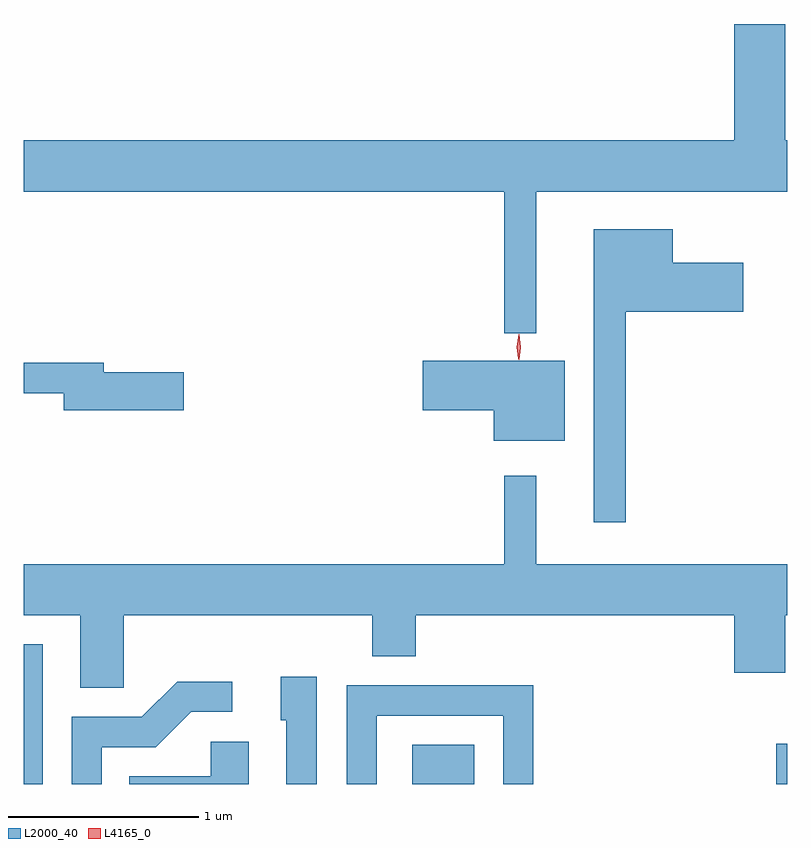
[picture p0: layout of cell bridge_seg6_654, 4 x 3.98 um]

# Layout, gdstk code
import gdstk
lib = gdstk.Library(unit=1e-6, precision=1e-09)
def R(c, l, rs):  # rectangles x0, y0, x1, y1
    for r in rs: c.add(gdstk.rectangle(r[:2], r[2:], *l))
def P(c, l, *ps):  # polygons
    for p in ps: c.add(gdstk.Polygon(p, *l))
L2000_40 = (2000, 40)
L4165_0 = (4165, 0)

bridge_seg6_654 = lib.new_cell('bridge_seg6_654')
R(bridge_seg6_654, L2000_40, [(231.335,1662.373,231.434,1663.104), (233.371,1662.373,233.694,1662.579), (235.276,1662.373,235.335,1662.584)])
P(bridge_seg6_654, L2000_40, [(234.019,1665.476),(235.335,1665.476),(235.335,1665.744),(235.324,1665.744),(235.324,1666.354),(235.056,1666.354),(235.056,1665.744),(231.335,1665.744),(231.335,1665.476),(233.851,1665.476),(233.851,1664.733),(234.019,1664.733)],
  [(234.489,1664.846),(235.104,1664.846),(235.104,1665.104),(234.734,1665.104),(234.734,1665.279),(234.321,1665.279),(234.321,1663.743),(234.489,1663.743)],
  [(234.169,1664.589),(233.426,1664.589),(233.426,1664.331),(233.796,1664.331),(233.796,1664.171),(234.169,1664.171)],
  [(232.174,1664.529),(231.754,1664.529),(231.754,1664.579),(231.335,1664.579),(231.335,1664.421),(231.546,1664.421),(231.546,1664.331),(232.174,1664.331)],
  [(231.859,1663.256),(233.161,1663.256),(233.161,1663.041),(233.389,1663.041),(233.389,1663.256),(235.056,1663.256),(235.056,1662.956),(235.324,1662.956),(235.324,1663.256),(235.335,1663.256),(235.335,1663.524),(234.019,1663.524),(234.019,1663.988),(233.851,1663.988),(233.851,1663.524),(231.335,1663.524),(231.335,1663.256),(231.631,1663.256),(231.631,1662.876),(231.859,1662.876)],
  [(232.869,1662.934),(232.681,1662.934),(232.681,1662.706),(232.711,1662.706),(232.711,1662.373),(232.869,1662.373)],
  [(231.744,1662.566),(232.027,1662.566),(232.212,1662.751),(232.428,1662.751),(232.428,1662.909),(232.139,1662.909),(231.954,1662.724),(231.586,1662.724),(231.586,1662.373),(231.744,1662.373)],
  [(233.184,1662.731),(233.846,1662.731),(233.846,1662.373),(234.004,1662.373),(234.004,1662.889),(233.026,1662.889),(233.026,1662.373),(233.184,1662.373)],
  [(232.514,1662.594),(232.316,1662.594),(232.316,1662.414),(231.888,1662.414),(231.888,1662.373),(232.514,1662.373)])
P(bridge_seg6_654, L4165_0, [(233.928,1664.594),(233.919,1664.662),(233.928,1664.73),(233.929,1664.73),(233.93,1664.73),(233.939,1664.662),(233.93,1664.594),(233.929,1664.594)],
  [(233.927,1664.6),(233.926,1664.601),(233.918,1664.664),(233.928,1664.726),(233.929,1664.727),(233.93,1664.726),(233.938,1664.664),(233.927,1664.601)])

lib.write_gds('bridge_seg6_654.gds')
